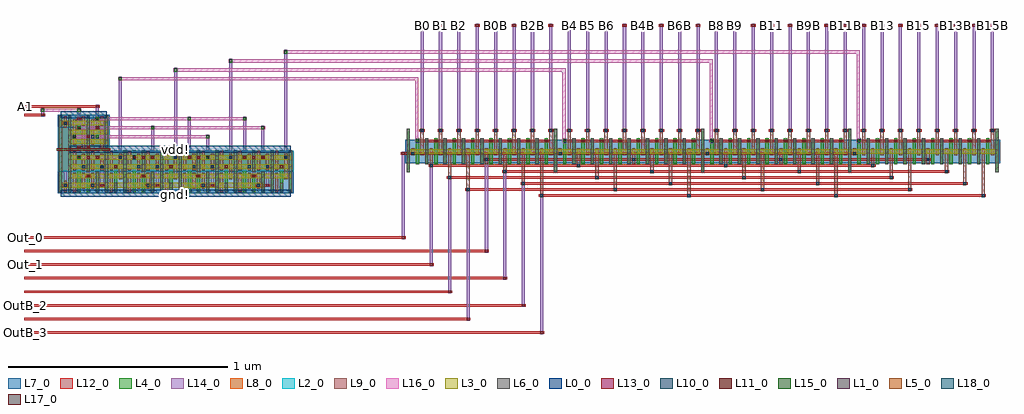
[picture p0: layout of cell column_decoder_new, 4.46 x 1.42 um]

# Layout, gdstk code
from math import pi, radians
import gdstk
lib = gdstk.Library(unit=1e-6, precision=5e-10)
def R(c, l, rs):  # rectangles x0, y0, x1, y1
    for r in rs: c.add(gdstk.rectangle(r[:2], r[2:], *l))
def A(c, l, x, y, w, h, nx, ny, dx, dy):  # array of equal rectangles
    R(c, l, [(x+i*dx, y+j*dy, x+i*dx+w, y+j*dy+h) for i in range(nx) for j in range(ny)])
L0_0 = (0, 0)
L1_0 = (1, 0)
L2_0 = (2, 0)
L3_0 = (3, 0)
L4_0 = (4, 0)
L5_0 = (5, 0)
L6_0 = (6, 0)
L7_0 = (7, 0)
L8_0 = (8, 0)
L9_0 = (9, 0)
L10_0 = (10, 0)
L11_0 = (11, 0)
L12_0 = (12, 0)
L13_0 = (13, 0)
L14_0 = (14, 0)
L15_0 = (15, 0)
L16_0 = (16, 0)
L17_0 = (17, 0)
L18_0 = (18, 0)

m0a_m0b = lib.new_cell('M0A_M0B')
R(m0a_m0b, L9_0, [(-0.0075,-0.0055,0.0075,0.0055)])
R(m0a_m0b, L10_0, [(-0.0065,-0.0065,0.0065,0.0065)])
R(m0a_m0b, L12_0, [(-0.0125,-0.0055,0.0125,0.0055)])

nmos = lib.new_cell('nmos')
R(nmos, L3_0, [(-0.042,-0.0105,0.042,0.0105)])
A(nmos, L4_0, -0.0495, -0.032, 0.015, 0.064, 3, 1, 0.042, 0)
R(nmos, L7_0, [(-0.0555,-0.021,0.0555,0.0205)])
R(nmos, L9_0, [(-0.0285,-0.0155,-0.0135,0.0155), (0.0135,-0.0155,0.0285,0.0155)])

gate_m0b = lib.new_cell('GATE_M0B')
R(gate_m0b, L4_0, [(-0.0075,-0.0115,0.0075,0.0115)])
R(gate_m0b, L11_0, [(-0.0075,-0.0065,0.0075,0.0065)])
R(gate_m0b, L12_0, [(-0.011,-0.0055,0.011,0.0055)])

pmos = lib.new_cell('pmos')
R(pmos, L2_0, [(-0.042,-0.0205,0.042,0.0205)])
R(pmos, L3_0, [(-0.042,-0.0105,0.042,0.0105)])
A(pmos, L4_0, -0.0495, -0.032, 0.015, 0.064, 3, 1, 0.042, 0)
R(pmos, L8_0, [(-0.0555,-0.0205,0.0555,0.0205)])
R(pmos, L9_0, [(-0.0285,-0.0155,-0.0135,0.0155), (0.0135,-0.0155,0.0285,0.0155)])

bpr_m0a = lib.new_cell('BPR_M0A')
R(bpr_m0a, L0_0, [(-0.021,-0.0055,0.021,0.026)])
R(bpr_m0a, L1_0, [(-0.0075,-0.0055,0.0075,0.005)])
R(bpr_m0a, L9_0, [(-0.0075,-0.0165,0.0075,0.005)])

inv_2 = lib.new_cell('inv_2')
R(inv_2, L0_0, [(-0.042,-0.052,0.0415,-0.0205), (0.012,-0.0415,0.031,-0.0285), (-0.042,0.1055,0.0415,0.137), (0.0105,0.114,0.0315,0.127)])
R(inv_2, L2_0, [(-0.0555,0.021,0.0555,0.116)])
R(inv_2, L6_0, [(-0.0495,-0.032,-0.0345,0.117), (0.0345,-0.032,0.0495,0.117)])
R(inv_2, L7_0, [(-0.0555,-0.0365,0.0555,0.021)])
R(inv_2, L8_0, [(-0.0555,0.021,0.0555,0.116)])
R(inv_2, L9_0, [(0.0135,0.0155,0.0285,0.027), (-0.0285,0.058,-0.0135,0.0695), (0.0135,0.058,0.0285,0.0695)])
R(inv_2, L12_0, [(-0.0075,0.016,0.0075,0.027), (0.0135,0.0585,0.0285,0.0695)])
inv_2.add(gdstk.Reference(nmos, (0,0)))
inv_2.add(gdstk.Reference(pmos, (0,0.085)))
inv_2.add(gdstk.Reference(pmos, (0,0.0425)))
inv_2.add(gdstk.Reference(bpr_m0a, (-0.021,-0.026), x_reflection=True))
inv_2.add(gdstk.Reference(bpr_m0a, (-0.021,0.111)))
inv_2.add(gdstk.Reference(m0a_m0b, (0.021,0.064)))
inv_2.add(gdstk.Reference(gate_m0b, (0,0.0215)))
inv_2.add(gdstk.Label('gnd!', (0.0215,-0.035), layer=0, texttype=0))
inv_2.add(gdstk.Label('vdd!', (0.021,0.1205), layer=0, texttype=0))
inv_2.add(gdstk.Label('Z', (0.021,0.064), layer=12, texttype=0))
inv_2.add(gdstk.Label('A', (0,0.0215), layer=12, texttype=0))

m0b_m1 = lib.new_cell('M0B_M1')
R(m0b_m1, L12_0, [(-0.011,-0.005,0.011,0.005)])
R(m0b_m1, L13_0, [(-0.007,-0.005,0.007,0.005)])
R(m0b_m1, L14_0, [(-0.007,-0.0075,0.007,0.0075)])

and_2 = lib.new_cell('and_2')
R(and_2, L0_0, [(0.4025,0.176,0.6545,0.2075), (0.5,0.1795,0.5265,0.1935), (0.4025,0.376,0.6545,0.4075), (0.535,0.392,0.5595,0.404)])
R(and_2, L2_0, [(0.389,0.2915,0.668,0.3865)])
R(and_2, L3_0, [(0.5285,0.26,0.5705,0.281)])
R(and_2, L4_0, [(0.563,0.196,0.578,0.2415), (0.605,0.196,0.62,0.2385), (0.647,0.196,0.662,0.281)])
A(and_2, L6_0, 0.395, 0.3235, 0.015, 0.064, 4, 1, 0.084, 0)
R(and_2, L6_0, [(0.395,0.196,0.41,0.281), (0.521,0.196,0.536,0.29), (0.563,0.196,0.578,0.29), (0.605,0.196,0.62,0.2395), (0.647,0.196,0.662,0.281), (0.395,0.281,0.41,0.345), (0.647,0.281,0.662,0.345), (0.479,0.29,0.494,0.345), (0.563,0.29,0.578,0.345)])
R(and_2, L7_0, [(0.389,0.1915,0.668,0.2915)])
R(and_2, L8_0, [(0.389,0.2915,0.668,0.3865)])
R(and_2, L9_0, [(0.584,0.217,0.599,0.2565), (0.416,0.2415,0.431,0.256), (0.458,0.2425,0.473,0.256), (0.5,0.2425,0.515,0.256), (0.626,0.284,0.641,0.2995), (0.416,0.3255,0.431,0.343), (0.458,0.326,0.473,0.3425), (0.5,0.3265,0.515,0.3425), (0.584,0.3265,0.599,0.3425), (0.626,0.3265,0.641,0.342), (0.542,0.327,0.557,0.342)])
R(and_2, L12_0, [(0.495,0.2225,0.5605,0.2335), (0.453,0.3075,0.6235,0.3185), (0.437,0.35,0.452,0.361), (0.4755,0.35,0.5395,0.361), (0.521,0.35,0.536,0.361), (0.627,0.35,0.641,0.361)])
R(and_2, L14_0, [(0.5425,0.2205,0.5565,0.3205), (0.4795,0.263,0.4935,0.3625)])
and_2.add(gdstk.Reference(pmos, (0.4445,0.3555)))
and_2.add(gdstk.Reference(pmos, (0.5285,0.3555)))
and_2.add(gdstk.Reference(pmos, (0.6125,0.3555)))
and_2.add(gdstk.Reference(pmos, (0.6125,0.313)))
and_2.add(gdstk.Reference(pmos, (0.5285,0.313)))
and_2.add(gdstk.Reference(pmos, (0.4445,0.313)))
and_2.add(gdstk.Reference(nmos, (0.4445,0.228)))
and_2.add(gdstk.Reference(nmos, (0.4865,0.228)))
and_2.add(gdstk.Reference(nmos, (0.6125,0.2705)))
and_2.add(gdstk.Reference(nmos, (0.4865,0.2705)))
and_2.add(gdstk.Reference(nmos, (0.4445,0.2705)))
and_2.add(gdstk.Reference(gate_m0b, (0.6125,0.313)))
and_2.add(gdstk.Reference(gate_m0b, (0.4865,0.2705)))
and_2.add(gdstk.Reference(gate_m0b, (0.5285,0.3555)))
and_2.add(gdstk.Reference(gate_m0b, (0.4445,0.3555)))
and_2.add(gdstk.Reference(m0a_m0b, (0.5075,0.228)))
and_2.add(gdstk.Reference(m0a_m0b, (0.5495,0.313)))
and_2.add(gdstk.Reference(m0a_m0b, (0.4655,0.313)))
and_2.add(gdstk.Reference(m0a_m0b, (0.6335,0.3555)))
and_2.add(gdstk.Reference(m0b_m1, (0.5495,0.228)))
and_2.add(gdstk.Reference(m0b_m1, (0.5495,0.313)))
and_2.add(gdstk.Reference(m0b_m1, (0.4865,0.355)))
and_2.add(gdstk.Reference(m0b_m1, (0.4865,0.2705)))
and_2.add(gdstk.Reference(bpr_m0a, (0.5915,0.202), rotation=pi))
and_2.add(gdstk.Reference(bpr_m0a, (0.4235,0.202), rotation=pi))
and_2.add(gdstk.Reference(bpr_m0a, (0.5915,0.3815)))
and_2.add(gdstk.Reference(bpr_m0a, (0.5075,0.3815)))
and_2.add(gdstk.Reference(bpr_m0a, (0.4235,0.3815)))
and_2.add(gdstk.Label('Z', (0.634,0.3555), layer=12, texttype=0))
and_2.add(gdstk.Label('B', (0.4445,0.3555), layer=12, texttype=0))
and_2.add(gdstk.Label('A', (0.5285,0.3555), layer=12, texttype=0))
and_2.add(gdstk.Label('vdd!', (0.547,0.398), layer=0, texttype=0))
and_2.add(gdstk.Label('gnd!', (0.513,0.1865), layer=0, texttype=0))

m1_m2 = lib.new_cell('M1_M2')
R(m1_m2, L14_0, [(-0.007,-0.01,0.007,0.01)])
R(m1_m2, L15_0, [(-0.007,-0.007,0.007,0.007)])
R(m1_m2, L16_0, [(-0.01,-0.007,0.01,0.007)])

m2_m3 = lib.new_cell('M2_M3')
R(m2_m3, L16_0, [(-0.01,-0.007,0.01,0.007)])
R(m2_m3, L17_0, [(-0.007,-0.007,0.007,0.007)])
R(m2_m3, L18_0, [(-0.0075,-0.01,0.0075,0.01)])

demu_2_4 = lib.new_cell('demu_2_4')
R(demu_2_4, L0_0, [(-0.013,0.0285,0.029,0.06), (0.2445,0.2445,0.267,0.2575), (-0.013,0.386,0.0295,0.4175), (0.113,0.386,0.1135,0.4175), (0.076,0.4045,0.096,0.414)])
R(demu_2_4, L2_0, [(-0.0265,0.144,0.0155,0.239), (-0.0265,0.239,0.2105,0.249), (-0.0265,0.249,0.0575,0.3445)])
A(demu_2_4, L3_0, 0.155, 0.07, 0.126, 0.021, 3, 1, 0.252, 0)
R(demu_2_4, L3_0, [(-0.013,0.07,0.029,0.091), (-0.013,0.355,0.029,0.376)])
A(demu_2_4, L4_0, 0.0215, 0.24, 0.015, 0.0085, 5, 1, 0.042, 0)
R(demu_2_4, L4_0, [(-0.0205,0.0485,-0.0055,0.3975)])
R(demu_2_4, L5_0, [(-0.0315,0.239,0.214,0.2495)])
A(demu_2_4, L6_0, 0.0215, 0.24, 0.015, 0.0085, 3, 1, 0.084, 0)
R(demu_2_4, L6_0, [(-0.0205,0.0485,-0.0055,0.3975)])
R(demu_2_4, L7_0, [(-0.0265,0.044,0.0155,0.144), (-0.0265,0.3445,0.0155,0.402)])
R(demu_2_4, L8_0, [(-0.0265,0.144,0.0155,0.239), (-0.0265,0.239,0.2105,0.2495), (-0.0265,0.249,0.0575,0.3445)])
R(demu_2_4, L9_0, [(0.0005,0.0675,0.0155,0.1005), (0.0005,0.344,0.0155,0.377)])
A(demu_2_4, L12_0, 0.2535, 0.2025, 0.014, 0.011, 3, 1, 0.252, 0)
R(demu_2_4, L12_0, [(1.0085,0.2025,1.0235,0.2135), (0.06,0.2515,0.124,0.2625), (0.102,0.296,0.1465,0.307), (0.06,0.379,0.082,0.39), (0.0635,0.379,0.0785,0.39), (0.144,0.379,0.166,0.39), (0.148,0.379,0.1625,0.39)])
R(demu_2_4, L14_0, [(0.001,0.0725,0.015,0.372), (0.148,0.1975,0.162,0.3115), (0.652,0.198,0.666,0.3115), (0.064,0.2005,0.078,0.2645), (0.4,0.2005,0.414,0.3535), (0.568,0.2005,0.582,0.3945), (0.82,0.2005,0.834,0.3945), (0.904,0.2005,0.918,0.3535), (0.106,0.2495,0.12,0.309), (0.064,0.345,0.078,0.392), (0.148,0.345,0.162,0.392)])
R(demu_2_4, L16_0, [(0.061,0.201,0.333,0.215), (0.04,0.2945,0.669,0.3085), (0.061,0.3365,0.921,0.3505), (0.145,0.3775,0.837,0.3915)])
demu_2_4.add(gdstk.Reference(inv_2, (0.155,0.3655), rotation=pi))
demu_2_4.add(gdstk.Reference(inv_2, (0.071,0.3655), rotation=pi))
demu_2_4.add(gdstk.Reference(and_2, (-0.1215,-0.1475)))
demu_2_4.add(gdstk.Reference(and_2, (0.1305,-0.1475)))
demu_2_4.add(gdstk.Reference(and_2, (0.3825,-0.1475)))
demu_2_4.add(gdstk.Reference(and_2, (-0.3735,-0.1475)))
demu_2_4.add(gdstk.Reference(bpr_m0a, (0.008,0.3915)))
demu_2_4.add(gdstk.Reference(bpr_m0a, (0.008,0.0545), rotation=pi))
demu_2_4.add(gdstk.Reference(m0a_m0b, (0.008,0.3645)))
demu_2_4.add(gdstk.Reference(m0a_m0b, (0.008,0.08)))
demu_2_4.add(gdstk.Reference(m0b_m1, (0.827,0.208)))
demu_2_4.add(gdstk.Reference(m0b_m1, (0.575,0.208)))
demu_2_4.add(gdstk.Reference(m0b_m1, (0.911,0.208)))
demu_2_4.add(gdstk.Reference(m0b_m1, (0.407,0.208)))
demu_2_4.add(gdstk.Reference(m0b_m1, (0.113,0.3015)))
demu_2_4.add(gdstk.Reference(m0b_m1, (0.323,0.208)))
demu_2_4.add(gdstk.Reference(m0b_m1, (0.071,0.257)))
demu_2_4.add(gdstk.Reference(m0b_m1, (0.113,0.257)))
demu_2_4.add(gdstk.Reference(m0b_m1, (0.071,0.208)))
demu_2_4.add(gdstk.Reference(m0b_m1, (0.659,0.208)))
demu_2_4.add(gdstk.Reference(m0b_m1, (0.155,0.2075)))
demu_2_4.add(gdstk.Reference(m0b_m1, (0.05,0.3015)))
demu_2_4.add(gdstk.Reference(m0b_m1, (0.071,0.3845)))
demu_2_4.add(gdstk.Reference(m0b_m1, (0.155,0.3845)))
demu_2_4.add(gdstk.Reference(m0b_m1, (0.155,0.3435)))
demu_2_4.add(gdstk.Reference(m0b_m1, (0.071,0.3435)))
demu_2_4.add(gdstk.Reference(m0b_m1, (0.008,0.3645)))
demu_2_4.add(gdstk.Reference(m0b_m1, (0.008,0.08)))
demu_2_4.add(gdstk.Reference(m1_m2, (0.827,0.3845)))
demu_2_4.add(gdstk.Reference(m1_m2, (0.575,0.3845)))
demu_2_4.add(gdstk.Reference(m1_m2, (0.155,0.3845)))
demu_2_4.add(gdstk.Reference(m1_m2, (0.911,0.3435)))
demu_2_4.add(gdstk.Reference(m1_m2, (0.407,0.3435)))
demu_2_4.add(gdstk.Reference(m1_m2, (0.071,0.3435)))
demu_2_4.add(gdstk.Reference(m1_m2, (0.323,0.208)))
demu_2_4.add(gdstk.Reference(m1_m2, (0.155,0.3015)))
demu_2_4.add(gdstk.Reference(m1_m2, (0.659,0.3015)))
demu_2_4.add(gdstk.Reference(m1_m2, (0.659,0.208)))
demu_2_4.add(gdstk.Reference(m1_m2, (0.071,0.208)))
demu_2_4.add(gdstk.Reference(m1_m2, (0.05,0.3015)))
demu_2_4.add(gdstk.Reference(m2_m3, (0.323,0.208)))
demu_2_4.add(gdstk.Label('gnd!', (0.086,0.409), layer=0, texttype=0))
demu_2_4.add(gdstk.Label('vdd!', (0.2555,0.251), layer=0, texttype=0))
demu_2_4.add(gdstk.Label('Out3', (1.016,0.208), layer=12, texttype=0))
demu_2_4.add(gdstk.Label('Out2', (0.7645,0.208), layer=12, texttype=0))
demu_2_4.add(gdstk.Label('Out1', (0.5125,0.208), layer=12, texttype=0))
demu_2_4.add(gdstk.Label('Out0', (0.2605,0.208), layer=12, texttype=0))
demu_2_4.add(gdstk.Label('A1', (0.155,0.3845), layer=12, texttype=0))
demu_2_4.add(gdstk.Label('A0', (0.071,0.3845), layer=12, texttype=0))

column_decoder_new = lib.new_cell('column_decoder_new')
R(column_decoder_new, L0_0, [(-1.0535,-0.1065,-1.028,-0.092), (-1.059,0.095,-1.025,0.1175)])
A(column_decoder_new, L4_0, 0.013, 0.001, 0.015, 0.1985, 5, 1, 0.672, 0)
A(column_decoder_new, L4_0, 0.055, 0.037, 0.015, 0.1185, 15, 1, 0.042, 0)
A(column_decoder_new, L4_0, 0.727, 0.037, 0.015, 0.1185, 15, 1, 0.042, 0)
A(column_decoder_new, L4_0, 1.399, 0.037, 0.015, 0.1185, 15, 1, 0.042, 0)
A(column_decoder_new, L4_0, 2.071, 0.037, 0.015, 0.1185, 15, 1, 0.042, 0)
R(column_decoder_new, L4_0, [(2.701,0.001,2.716,0.1995), (2.701,0.001,2.716,0.1995)])
A(column_decoder_new, L6_0, 0.013, 0.001, 0.015, 0.1985, 5, 1, 0.672, 0)
A(column_decoder_new, L6_0, 0.097, 0.037, 0.015, 0.1185, 7, 1, 0.084, 0)
A(column_decoder_new, L6_0, 0.769, 0.037, 0.015, 0.1185, 7, 1, 0.084, 0)
A(column_decoder_new, L6_0, 1.441, 0.037, 0.015, 0.1185, 7, 1, 0.084, 0)
A(column_decoder_new, L6_0, 2.113, 0.037, 0.015, 0.1185, 7, 1, 0.084, 0)
R(column_decoder_new, L6_0, [(0.685,0.063,0.7,0.127), (0.685,0.063,0.7,0.127), (1.357,0.063,1.372,0.127), (1.357,0.063,1.372,0.127), (2.029,0.063,2.044,0.127), (2.029,0.063,2.044,0.127), (2.701,0.063,2.716,0.127), (2.701,0.063,2.716,0.127), (2.701,0.063,2.716,0.127), (2.701,0.063,2.716,0.127)])
R(column_decoder_new, L7_0, [(0.007,0.043,2.722,0.1495)])
A(column_decoder_new, L9_0, 0.622, -0.113, 0.015, 0.193, 4, 1, 0.672, 0)
A(column_decoder_new, L9_0, 0.286, -0.0855, 0.015, 0.1655, 4, 1, 0.672, 0)
A(column_decoder_new, L9_0, 0.538, -0.058, 0.015, 0.138, 4, 1, 0.672, 0)
A(column_decoder_new, L9_0, 0.202, -0.03, 0.015, 0.11, 4, 1, 0.672, 0)
A(column_decoder_new, L9_0, 0.454, -0.003, 0.015, 0.083, 4, 1, 0.672, 0)
A(column_decoder_new, L9_0, 0.118, 0.0245, 0.015, 0.0555, 4, 1, 0.672, 0)
A(column_decoder_new, L9_0, 0.37, 0.038, 0.015, 0.0425, 4, 1, 0.672, 0)
A(column_decoder_new, L9_0, 0.076, 0.0795, 0.015, 0.12, 32, 1, 0.084, 0)
A(column_decoder_new, L12_0, 0.0515, 0.1385, 0.61, 0.011, 4, 1, 0.672, 0)
A(column_decoder_new, L12_0, 0.0725, 0.6655, 0.022, 0.011, 32, 1, 0.084, 0)
A(column_decoder_new, L12_0, 0.076, 0.6655, 0.015, 0.011, 29, 1, 0.084, 0)
R(column_decoder_new, L12_0, [(-1.734,-0.736,0.6405,-0.725), (-1.734,-0.734,-1.723,-0.7275), (-1.734,-0.674,0.3045,-0.663), (-1.734,-0.673,-1.719,-0.6645), (-1.734,-0.612,0.5565,-0.601), (-1.734,-0.611,-1.723,-0.602), (-1.734,-0.55,0.2205,-0.539), (-1.734,-0.5495,-1.723,-0.54), (-1.734,-0.488,0.4725,-0.477), (-1.734,-0.487,-1.722,-0.478), (-1.734,-0.426,0.1365,-0.415), (-1.734,-0.4255,-1.722,-0.4155), (-1.734,-0.364,0.3885,-0.353), (-1.734,-0.3635,-1.72,-0.3535), (-1.734,-0.302,0.0085,-0.291), (-1.734,-0.3015,-1.7205,-0.2915), (0.617,-0.111,2.658,-0.1), (0.281,-0.0835,2.322,-0.0725), (0.533,-0.056,2.574,-0.045), (0.197,-0.0285,2.238,-0.0175), (0.449,-0.001,2.49,0.01), (0.113,0.0265,2.154,0.0375), (0.365,0.054,2.406,0.065), (-0.0135,0.0815,2.07,0.0925), (-1.734,0.2575,-1.638,0.2685), (-1.7335,0.258,-1.72,0.268), (-1.734,0.2965,-1.388,0.3075), (-1.733,0.297,-1.721,0.3065), (2.512,0.6655,2.527,0.676), (2.596,0.6655,2.611,0.6765), (2.68,0.6655,2.695,0.6765)])
A(column_decoder_new, L14_0, 0.0765, 0.1845, 0.014, 0.494, 32, 1, 0.084, 0)
R(column_decoder_new, L14_0, [(0.6225,-0.738,0.6365,-0.098), (0.2865,-0.676,0.3005,-0.0705), (0.5385,-0.614,0.5525,-0.043), (0.2025,-0.552,0.2165,-0.0155), (0.4545,-0.49,0.4685,0.012), (0.1185,-0.428,0.1325,0.0395), (0.3705,-0.366,0.3845,0.067), (-0.0095,-0.304,0.0045,0.0945), (-1.301,0.0615,-1.287,0.437), (-1.049,0.0615,-1.035,0.478), (-0.797,0.0615,-0.783,0.519), (-0.545,0.0615,-0.531,0.56), (-1.406,0.2385,-1.392,0.3095), (-1.49,0.24,-1.476,0.294), (-1.656,0.2555,-1.642,0.294)])
R(column_decoder_new, L16_0, [(0.0525,0.137,0.0665,0.434), (0.7245,0.137,0.7385,0.475), (1.3965,0.137,1.4105,0.516), (2.0685,0.137,2.0825,0.557), (-1.659,0.277,-1.473,0.291), (-1.304,0.42,0.0665,0.434), (-1.052,0.461,0.7385,0.475), (-0.8,0.502,1.4105,0.516), (-0.548,0.543,2.0825,0.557)])
column_decoder_new.add(gdstk.Reference(m0a_m0b, (2.6455,-0.1055)))
column_decoder_new.add(gdstk.Reference(m0a_m0b, (1.9735,-0.1055)))
column_decoder_new.add(gdstk.Reference(m0a_m0b, (1.3015,-0.1055)))
column_decoder_new.add(gdstk.Reference(m0a_m0b, (0.6295,-0.1055)))
column_decoder_new.add(gdstk.Reference(m0a_m0b, (2.3095,-0.078)))
column_decoder_new.add(gdstk.Reference(m0a_m0b, (1.6375,-0.078)))
column_decoder_new.add(gdstk.Reference(m0a_m0b, (0.9655,-0.078)))
column_decoder_new.add(gdstk.Reference(m0a_m0b, (0.2935,-0.078)))
column_decoder_new.add(gdstk.Reference(m0a_m0b, (2.5615,-0.0505)))
column_decoder_new.add(gdstk.Reference(m0a_m0b, (1.8895,-0.0505)))
column_decoder_new.add(gdstk.Reference(m0a_m0b, (1.2175,-0.0505)))
column_decoder_new.add(gdstk.Reference(m0a_m0b, (0.5455,-0.0505)))
column_decoder_new.add(gdstk.Reference(m0a_m0b, (2.2255,-0.023)))
column_decoder_new.add(gdstk.Reference(m0a_m0b, (1.5535,-0.023)))
column_decoder_new.add(gdstk.Reference(m0a_m0b, (0.8815,-0.023)))
column_decoder_new.add(gdstk.Reference(m0a_m0b, (0.2095,-0.023)))
column_decoder_new.add(gdstk.Reference(m0a_m0b, (2.4775,0.0045)))
column_decoder_new.add(gdstk.Reference(m0a_m0b, (1.8055,0.0045)))
column_decoder_new.add(gdstk.Reference(m0a_m0b, (1.1335,0.0045)))
column_decoder_new.add(gdstk.Reference(m0a_m0b, (0.4615,0.0045)))
column_decoder_new.add(gdstk.Reference(m0a_m0b, (2.1415,0.032)))
column_decoder_new.add(gdstk.Reference(m0a_m0b, (1.4695,0.032)))
column_decoder_new.add(gdstk.Reference(m0a_m0b, (0.7975,0.032)))
column_decoder_new.add(gdstk.Reference(m0a_m0b, (0.1255,0.032)))
column_decoder_new.add(gdstk.Reference(m0a_m0b, (2.3935,0.0595)))
column_decoder_new.add(gdstk.Reference(m0a_m0b, (1.7215,0.0595)))
column_decoder_new.add(gdstk.Reference(m0a_m0b, (1.0495,0.0595)))
column_decoder_new.add(gdstk.Reference(m0a_m0b, (0.3775,0.0595)))
column_decoder_new.add(gdstk.Reference(m0a_m0b, (0.0415,0.087)))
column_decoder_new.add(gdstk.Reference(m0a_m0b, (0.7135,0.087)))
column_decoder_new.add(gdstk.Reference(m0a_m0b, (1.3855,0.087)))
column_decoder_new.add(gdstk.Reference(m0a_m0b, (2.0575,0.087)))
column_decoder_new.add(gdstk.Reference(m0a_m0b, (1.4275,0.192)))
column_decoder_new.add(gdstk.Reference(m0a_m0b, (1.5115,0.192)))
column_decoder_new.add(gdstk.Reference(m0a_m0b, (2.6875,0.192)))
column_decoder_new.add(gdstk.Reference(m0a_m0b, (2.6035,0.192)))
column_decoder_new.add(gdstk.Reference(m0a_m0b, (1.8475,0.192)))
column_decoder_new.add(gdstk.Reference(m0a_m0b, (1.7635,0.192)))
column_decoder_new.add(gdstk.Reference(m0a_m0b, (1.5955,0.192)))
column_decoder_new.add(gdstk.Reference(m0a_m0b, (1.6795,0.192)))
column_decoder_new.add(gdstk.Reference(m0a_m0b, (2.0155,0.192)))
column_decoder_new.add(gdstk.Reference(m0a_m0b, (1.9315,0.192)))
column_decoder_new.add(gdstk.Reference(m0a_m0b, (2.5195,0.192)))
column_decoder_new.add(gdstk.Reference(m0a_m0b, (2.4355,0.192)))
column_decoder_new.add(gdstk.Reference(m0a_m0b, (2.3515,0.192)))
column_decoder_new.add(gdstk.Reference(m0a_m0b, (2.2675,0.192)))
column_decoder_new.add(gdstk.Reference(m0a_m0b, (2.0995,0.192)))
column_decoder_new.add(gdstk.Reference(m0a_m0b, (2.1835,0.192)))
column_decoder_new.add(gdstk.Reference(m0a_m0b, (0.5875,0.192)))
column_decoder_new.add(gdstk.Reference(m0a_m0b, (0.6715,0.192)))
column_decoder_new.add(gdstk.Reference(m0a_m0b, (0.5035,0.192)))
column_decoder_new.add(gdstk.Reference(m0a_m0b, (0.4195,0.192)))
column_decoder_new.add(gdstk.Reference(m0a_m0b, (0.2515,0.192)))
column_decoder_new.add(gdstk.Reference(m0a_m0b, (0.3355,0.192)))
column_decoder_new.add(gdstk.Reference(m0a_m0b, (0.9235,0.192)))
column_decoder_new.add(gdstk.Reference(m0a_m0b, (1.0075,0.192)))
column_decoder_new.add(gdstk.Reference(m0a_m0b, (1.2595,0.192)))
column_decoder_new.add(gdstk.Reference(m0a_m0b, (1.3435,0.192)))
column_decoder_new.add(gdstk.Reference(m0a_m0b, (0.7555,0.192)))
column_decoder_new.add(gdstk.Reference(m0a_m0b, (0.8395,0.192)))
column_decoder_new.add(gdstk.Reference(m0a_m0b, (1.0915,0.192)))
column_decoder_new.add(gdstk.Reference(m0a_m0b, (1.1755,0.192)))
column_decoder_new.add(gdstk.Reference(m0a_m0b, (0.1675,0.192)))
column_decoder_new.add(gdstk.Reference(m0a_m0b, (0.0835,0.192)))
column_decoder_new.add(gdstk.Reference(nmos, (1.4065,0.095)))
column_decoder_new.add(gdstk.Reference(nmos, (1.4905,0.095)))
column_decoder_new.add(gdstk.Reference(nmos, (1.6585,0.095)))
column_decoder_new.add(gdstk.Reference(nmos, (1.5745,0.095)))
column_decoder_new.add(gdstk.Reference(nmos, (1.7425,0.095)))
column_decoder_new.add(gdstk.Reference(nmos, (1.8265,0.095)))
column_decoder_new.add(gdstk.Reference(nmos, (1.9105,0.095)))
column_decoder_new.add(gdstk.Reference(nmos, (1.9945,0.095)))
column_decoder_new.add(gdstk.Reference(nmos, (2.6665,0.095)))
column_decoder_new.add(gdstk.Reference(nmos, (2.5825,0.095)))
column_decoder_new.add(gdstk.Reference(nmos, (2.4985,0.095)))
column_decoder_new.add(gdstk.Reference(nmos, (2.4145,0.095)))
column_decoder_new.add(gdstk.Reference(nmos, (2.2465,0.095)))
column_decoder_new.add(gdstk.Reference(nmos, (2.3305,0.095)))
column_decoder_new.add(gdstk.Reference(nmos, (2.1625,0.095)))
column_decoder_new.add(gdstk.Reference(nmos, (2.0785,0.095)))
column_decoder_new.add(gdstk.Reference(nmos, (0.0625,0.095)))
column_decoder_new.add(gdstk.Reference(nmos, (0.1465,0.095)))
column_decoder_new.add(gdstk.Reference(nmos, (0.3145,0.095)))
column_decoder_new.add(gdstk.Reference(nmos, (0.2305,0.095)))
column_decoder_new.add(gdstk.Reference(nmos, (0.3985,0.095)))
column_decoder_new.add(gdstk.Reference(nmos, (0.4825,0.095)))
column_decoder_new.add(gdstk.Reference(nmos, (0.5665,0.095)))
column_decoder_new.add(gdstk.Reference(nmos, (0.6505,0.095)))
column_decoder_new.add(gdstk.Reference(nmos, (1.3225,0.095)))
column_decoder_new.add(gdstk.Reference(nmos, (1.2385,0.095)))
column_decoder_new.add(gdstk.Reference(nmos, (1.1545,0.095)))
column_decoder_new.add(gdstk.Reference(nmos, (1.0705,0.095)))
column_decoder_new.add(gdstk.Reference(nmos, (0.9025,0.095)))
column_decoder_new.add(gdstk.Reference(nmos, (0.9865,0.095)))
column_decoder_new.add(gdstk.Reference(nmos, (0.8185,0.095)))
column_decoder_new.add(gdstk.Reference(nmos, (0.7345,0.095)))
column_decoder_new.add(gdstk.Reference(gate_m0b, (2.0785,0.144)))
column_decoder_new.add(gdstk.Reference(gate_m0b, (1.4065,0.144)))
column_decoder_new.add(gdstk.Reference(gate_m0b, (1.4905,0.144)))
column_decoder_new.add(gdstk.Reference(gate_m0b, (1.4065,0.144)))
column_decoder_new.add(gdstk.Reference(gate_m0b, (1.5745,0.144)))
column_decoder_new.add(gdstk.Reference(gate_m0b, (1.6585,0.144)))
column_decoder_new.add(gdstk.Reference(gate_m0b, (1.7425,0.144)))
column_decoder_new.add(gdstk.Reference(gate_m0b, (1.8265,0.144)))
column_decoder_new.add(gdstk.Reference(gate_m0b, (1.9105,0.144)))
column_decoder_new.add(gdstk.Reference(gate_m0b, (1.9945,0.144)))
column_decoder_new.add(gdstk.Reference(gate_m0b, (2.6665,0.144)))
column_decoder_new.add(gdstk.Reference(gate_m0b, (2.5825,0.144)))
column_decoder_new.add(gdstk.Reference(gate_m0b, (2.4985,0.144)))
column_decoder_new.add(gdstk.Reference(gate_m0b, (2.4145,0.144)))
column_decoder_new.add(gdstk.Reference(gate_m0b, (0.1465,0.144)))
column_decoder_new.add(gdstk.Reference(gate_m0b, (2.3305,0.144)))
column_decoder_new.add(gdstk.Reference(gate_m0b, (0.9865,0.144)))
column_decoder_new.add(gdstk.Reference(gate_m0b, (0.9025,0.144)))
column_decoder_new.add(gdstk.Reference(gate_m0b, (0.7345,0.144)))
column_decoder_new.add(gdstk.Reference(gate_m0b, (0.8185,0.144)))
column_decoder_new.add(gdstk.Reference(gate_m0b, (0.2305,0.144)))
column_decoder_new.add(gdstk.Reference(gate_m0b, (2.1625,0.144)))
column_decoder_new.add(gdstk.Reference(gate_m0b, (2.0785,0.144)))
column_decoder_new.add(gdstk.Reference(gate_m0b, (2.2465,0.144)))
column_decoder_new.add(gdstk.Reference(gate_m0b, (0.3145,0.144)))
column_decoder_new.add(gdstk.Reference(gate_m0b, (0.3985,0.144)))
column_decoder_new.add(gdstk.Reference(gate_m0b, (0.4825,0.144)))
column_decoder_new.add(gdstk.Reference(gate_m0b, (0.5665,0.144)))
column_decoder_new.add(gdstk.Reference(gate_m0b, (0.6505,0.144)))
column_decoder_new.add(gdstk.Reference(gate_m0b, (1.2385,0.144)))
column_decoder_new.add(gdstk.Reference(gate_m0b, (1.1545,0.144)))
column_decoder_new.add(gdstk.Reference(gate_m0b, (0.0625,0.144)))
column_decoder_new.add(gdstk.Reference(gate_m0b, (1.0705,0.144)))
column_decoder_new.add(gdstk.Reference(gate_m0b, (1.3225,0.144)))
column_decoder_new.add(gdstk.Reference(demu_2_4, (-1.554,-0.139)))
column_decoder_new.add(gdstk.Reference(m0b_m1, (-1.649,0.263)))
column_decoder_new.add(gdstk.Reference(m0b_m1, (-1.399,0.302)))
column_decoder_new.add(gdstk.Reference(m0b_m1, (0.6295,-0.1055)))
column_decoder_new.add(gdstk.Reference(m0b_m1, (0.2935,-0.078)))
column_decoder_new.add(gdstk.Reference(m0b_m1, (0.5455,-0.0505)))
column_decoder_new.add(gdstk.Reference(m0b_m1, (0.2095,-0.023)))
column_decoder_new.add(gdstk.Reference(m0b_m1, (0.4615,0.0045)))
column_decoder_new.add(gdstk.Reference(m0b_m1, (0.1255,0.032)))
column_decoder_new.add(gdstk.Reference(m0b_m1, (0.6295,-0.7305)))
column_decoder_new.add(gdstk.Reference(m0b_m1, (0.2935,-0.6685)))
column_decoder_new.add(gdstk.Reference(m0b_m1, (0.5455,-0.6065)))
column_decoder_new.add(gdstk.Reference(m0b_m1, (0.2095,-0.5445)))
column_decoder_new.add(gdstk.Reference(m0b_m1, (0.4615,-0.4825)))
column_decoder_new.add(gdstk.Reference(m0b_m1, (0.1255,-0.4205)))
column_decoder_new.add(gdstk.Reference(m0b_m1, (0.3775,0.0595)))
column_decoder_new.add(gdstk.Reference(m0b_m1, (0.3775,-0.3585)))
column_decoder_new.add(gdstk.Reference(m0b_m1, (-0.0025,-0.2965)))
column_decoder_new.add(gdstk.Reference(m0b_m1, (-0.0025,0.087)))
column_decoder_new.add(gdstk.Reference(m0b_m1, (2.6875,0.671)))
column_decoder_new.add(gdstk.Reference(m0b_m1, (2.6035,0.671)))
column_decoder_new.add(gdstk.Reference(m0b_m1, (2.5195,0.671)))
column_decoder_new.add(gdstk.Reference(m0b_m1, (2.4355,0.671)))
column_decoder_new.add(gdstk.Reference(m0b_m1, (2.3515,0.671)))
column_decoder_new.add(gdstk.Reference(m0b_m1, (2.2675,0.671)))
column_decoder_new.add(gdstk.Reference(m0b_m1, (2.1835,0.671)))
column_decoder_new.add(gdstk.Reference(m0b_m1, (2.0995,0.671)))
column_decoder_new.add(gdstk.Reference(m0b_m1, (2.0155,0.671)))
column_decoder_new.add(gdstk.Reference(m0b_m1, (1.9315,0.671)))
column_decoder_new.add(gdstk.Reference(m0b_m1, (1.8475,0.671)))
column_decoder_new.add(gdstk.Reference(m0b_m1, (1.7635,0.671)))
column_decoder_new.add(gdstk.Reference(m0b_m1, (1.6795,0.671)))
column_decoder_new.add(gdstk.Reference(m0b_m1, (1.5955,0.671)))
column_decoder_new.add(gdstk.Reference(m0b_m1, (1.5115,0.671)))
column_decoder_new.add(gdstk.Reference(m0b_m1, (1.4275,0.671)))
column_decoder_new.add(gdstk.Reference(m0b_m1, (1.3435,0.671)))
column_decoder_new.add(gdstk.Reference(m0b_m1, (1.2595,0.671)))
column_decoder_new.add(gdstk.Reference(m0b_m1, (1.1755,0.671)))
column_decoder_new.add(gdstk.Reference(m0b_m1, (1.0915,0.671)))
column_decoder_new.add(gdstk.Reference(m0b_m1, (1.0075,0.671)))
column_decoder_new.add(gdstk.Reference(m0b_m1, (0.9235,0.671)))
column_decoder_new.add(gdstk.Reference(m0b_m1, (0.8395,0.671)))
column_decoder_new.add(gdstk.Reference(m0b_m1, (0.7555,0.671)))
column_decoder_new.add(gdstk.Reference(m0b_m1, (0.6715,0.671)))
column_decoder_new.add(gdstk.Reference(m0b_m1, (0.5875,0.671)))
column_decoder_new.add(gdstk.Reference(m0b_m1, (0.5035,0.671)))
column_decoder_new.add(gdstk.Reference(m0b_m1, (0.4195,0.671)))
column_decoder_new.add(gdstk.Reference(m0b_m1, (0.3355,0.671)))
column_decoder_new.add(gdstk.Reference(m0b_m1, (0.2515,0.671)))
column_decoder_new.add(gdstk.Reference(m0b_m1, (0.1675,0.671)))
column_decoder_new.add(gdstk.Reference(m0b_m1, (0.0835,0.671)))
column_decoder_new.add(gdstk.Reference(m0b_m1, (2.6875,0.192)))
column_decoder_new.add(gdstk.Reference(m0b_m1, (2.6035,0.192)))
column_decoder_new.add(gdstk.Reference(m0b_m1, (2.5195,0.192)))
column_decoder_new.add(gdstk.Reference(m0b_m1, (2.4355,0.192)))
column_decoder_new.add(gdstk.Reference(m0b_m1, (2.3515,0.192)))
column_decoder_new.add(gdstk.Reference(m0b_m1, (2.2675,0.192)))
column_decoder_new.add(gdstk.Reference(m0b_m1, (2.1835,0.192)))
column_decoder_new.add(gdstk.Reference(m0b_m1, (2.0995,0.192)))
column_decoder_new.add(gdstk.Reference(m0b_m1, (2.0155,0.192)))
column_decoder_new.add(gdstk.Reference(m0b_m1, (1.9315,0.192)))
column_decoder_new.add(gdstk.Reference(m0b_m1, (1.8475,0.192)))
column_decoder_new.add(gdstk.Reference(m0b_m1, (1.7635,0.192)))
column_decoder_new.add(gdstk.Reference(m0b_m1, (1.6795,0.192)))
column_decoder_new.add(gdstk.Reference(m0b_m1, (1.5955,0.192)))
column_decoder_new.add(gdstk.Reference(m0b_m1, (0.1675,0.192)))
column_decoder_new.add(gdstk.Reference(m0b_m1, (0.0835,0.192)))
column_decoder_new.add(gdstk.Reference(m0b_m1, (2.0785,0.144)))
column_decoder_new.add(gdstk.Reference(m0b_m1, (1.4065,0.144)))
column_decoder_new.add(gdstk.Reference(m0b_m1, (0.7345,0.144)))
column_decoder_new.add(gdstk.Reference(m0b_m1, (0.0625,0.144)))
column_decoder_new.add(gdstk.Reference(m0b_m1, (-0.538,0.069)))
column_decoder_new.add(gdstk.Reference(m0b_m1, (-0.79,0.069)))
column_decoder_new.add(gdstk.Reference(m0b_m1, (-1.042,0.069)))
column_decoder_new.add(gdstk.Reference(m0b_m1, (-1.294,0.069)))
column_decoder_new.add(gdstk.Reference(m0b_m1, (1.0075,0.192)))
column_decoder_new.add(gdstk.Reference(m0b_m1, (0.9235,0.192)))
column_decoder_new.add(gdstk.Reference(m0b_m1, (0.7555,0.192)))
column_decoder_new.add(gdstk.Reference(m0b_m1, (0.8395,0.192)))
column_decoder_new.add(gdstk.Reference(m0b_m1, (0.2515,0.192)))
column_decoder_new.add(gdstk.Reference(m0b_m1, (0.3355,0.192)))
column_decoder_new.add(gdstk.Reference(m0b_m1, (0.5035,0.192)))
column_decoder_new.add(gdstk.Reference(m0b_m1, (0.4195,0.192)))
column_decoder_new.add(gdstk.Reference(m0b_m1, (0.5875,0.192)))
column_decoder_new.add(gdstk.Reference(m0b_m1, (0.6715,0.192)))
column_decoder_new.add(gdstk.Reference(m0b_m1, (1.1755,0.192)))
column_decoder_new.add(gdstk.Reference(m0b_m1, (1.0915,0.192)))
column_decoder_new.add(gdstk.Reference(m0b_m1, (1.2595,0.192)))
column_decoder_new.add(gdstk.Reference(m0b_m1, (1.3435,0.192)))
column_decoder_new.add(gdstk.Reference(m0b_m1, (1.5115,0.192)))
column_decoder_new.add(gdstk.Reference(m0b_m1, (1.4275,0.192)))
column_decoder_new.add(gdstk.Reference(m1_m2, (-1.649,0.284)))
column_decoder_new.add(gdstk.Reference(m1_m2, (-1.483,0.284)))
column_decoder_new.add(gdstk.Reference(m1_m2, (2.0785,0.144)))
column_decoder_new.add(gdstk.Reference(m1_m2, (1.4065,0.144)))
column_decoder_new.add(gdstk.Reference(m1_m2, (0.7345,0.144)))
column_decoder_new.add(gdstk.Reference(m1_m2, (-0.538,0.55)))
column_decoder_new.add(gdstk.Reference(m1_m2, (-0.79,0.509)))
column_decoder_new.add(gdstk.Reference(m1_m2, (-1.042,0.468)))
column_decoder_new.add(gdstk.Reference(m1_m2, (0.0625,0.144)))
column_decoder_new.add(gdstk.Reference(m1_m2, (-1.294,0.427)))
column_decoder_new.add(gdstk.Label('vdd!', (-1.042,0.106), layer=0, texttype=0))
column_decoder_new.add(gdstk.Label('gnd!', (-1.0405,-0.099), layer=0, texttype=0))
column_decoder_new.add(gdstk.Label('A1', (-1.727,0.3015), layer=12, texttype=0))
column_decoder_new.add(gdstk.Label('A0', (-1.7265,0.263), layer=12, texttype=0))
column_decoder_new.add(gdstk.Label('Out_1', (-1.728,-0.4205), layer=12, texttype=0))
column_decoder_new.add(gdstk.Label('OutB_1', (-1.728,-0.4825), layer=12, texttype=0))
column_decoder_new.add(gdstk.Label('OutB_2', (-1.7285,-0.6065), layer=12, texttype=0))
column_decoder_new.add(gdstk.Label('Out_2', (-1.7285,-0.5445), layer=12, texttype=0))
column_decoder_new.add(gdstk.Label('OutB_3', (-1.7285,-0.7305), layer=12, texttype=0))
column_decoder_new.add(gdstk.Label('Out3', (-1.7265,-0.6685), layer=12, texttype=0))
column_decoder_new.add(gdstk.Label('OutB_0', (-1.727,-0.3585), layer=12, texttype=0))
column_decoder_new.add(gdstk.Label('Out_0', (-1.727,-0.2965), layer=12, texttype=0))
column_decoder_new.add(gdstk.Label('B15B', (2.6875,0.671), layer=12, texttype=0))
column_decoder_new.add(gdstk.Label('B14B', (2.6035,0.671), layer=12, texttype=0))
column_decoder_new.add(gdstk.Label('B13B', (2.5195,0.6705), layer=12, texttype=0))
column_decoder_new.add(gdstk.Label('B12B', (2.4355,0.671), layer=12, texttype=0))
column_decoder_new.add(gdstk.Label('B15', (2.3515,0.671), layer=12, texttype=0))
column_decoder_new.add(gdstk.Label('B14', (2.2675,0.671), layer=12, texttype=0))
column_decoder_new.add(gdstk.Label('B13', (2.1835,0.671), layer=12, texttype=0))
column_decoder_new.add(gdstk.Label('B12', (2.0995,0.671), layer=12, texttype=0))
column_decoder_new.add(gdstk.Label('B11B', (2.0155,0.671), layer=12, texttype=0))
column_decoder_new.add(gdstk.Label('B10B', (1.9315,0.671), layer=12, texttype=0))
column_decoder_new.add(gdstk.Label('B9B', (1.8475,0.671), layer=12, texttype=0))
column_decoder_new.add(gdstk.Label('B8B', (1.7635,0.671), layer=12, texttype=0))
column_decoder_new.add(gdstk.Label('B11', (1.6795,0.671), layer=12, texttype=0))
column_decoder_new.add(gdstk.Label('B10', (1.5955,0.671), layer=12, texttype=0))
column_decoder_new.add(gdstk.Label('B9', (1.5115,0.671), layer=12, texttype=0))
column_decoder_new.add(gdstk.Label('B8', (1.4275,0.671), layer=12, texttype=0))
column_decoder_new.add(gdstk.Label('B7B', (1.3435,0.671), layer=12, texttype=0))
column_decoder_new.add(gdstk.Label('B6B', (1.2595,0.671), layer=12, texttype=0))
column_decoder_new.add(gdstk.Label('B5B', (1.1755,0.671), layer=12, texttype=0))
column_decoder_new.add(gdstk.Label('B4B', (1.0915,0.671), layer=12, texttype=0))
column_decoder_new.add(gdstk.Label('B7', (1.0075,0.671), layer=12, texttype=0))
column_decoder_new.add(gdstk.Label('B6', (0.9235,0.671), layer=12, texttype=0))
column_decoder_new.add(gdstk.Label('B5', (0.8395,0.671), layer=12, texttype=0))
column_decoder_new.add(gdstk.Label('B4', (0.7555,0.671), layer=12, texttype=0))
column_decoder_new.add(gdstk.Label('B3B', (0.6715,0.671), layer=12, texttype=0))
column_decoder_new.add(gdstk.Label('B2B', (0.5875,0.671), layer=12, texttype=0))
column_decoder_new.add(gdstk.Label('B1B', (0.5035,0.671), layer=12, texttype=0))
column_decoder_new.add(gdstk.Label('B0B', (0.4195,0.671), layer=12, texttype=0))
column_decoder_new.add(gdstk.Label('B3', (0.3355,0.671), layer=12, texttype=0))
column_decoder_new.add(gdstk.Label('B2', (0.2515,0.671), layer=12, texttype=0))
column_decoder_new.add(gdstk.Label('B1', (0.1675,0.671), layer=12, texttype=0))
column_decoder_new.add(gdstk.Label('B0', (0.0835,0.671), layer=12, texttype=0))

lib.write_gds('column_decoder_new.gds')
